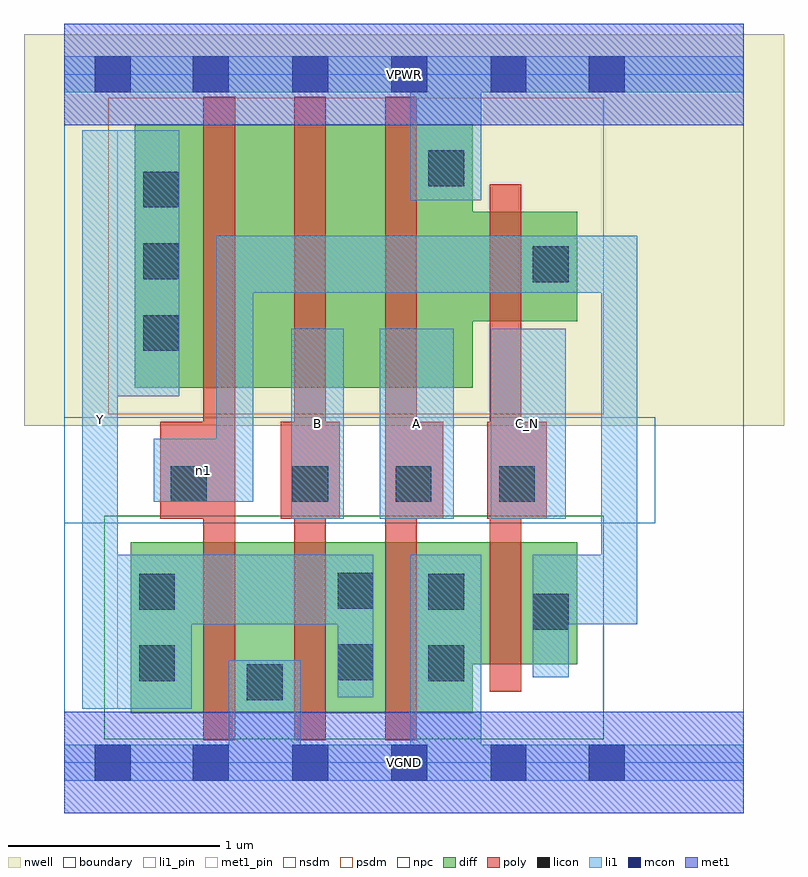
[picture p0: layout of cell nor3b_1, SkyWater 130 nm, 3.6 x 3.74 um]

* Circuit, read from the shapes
.subckt nor3b_1 A B C_N VGND VPWR Y n1
XM1 VGND n1 Y VSUBS sky130_fd_pr__nfet_01v8 w=0.81 l=0.15
XM2 Y B VGND VSUBS sky130_fd_pr__nfet_01v8 w=0.81 l=0.15
XM3 VGND A Y VSUBS sky130_fd_pr__nfet_01v8 w=0.81 l=0.15
XM4 n1 C_N VGND VSUBS sky130_fd_pr__nfet_01v8 w=0.58 l=0.15
XM5 n2 n1 Y n3 sky130_fd_pr__pfet_01v8 w=1.25 l=0.15
XM6 n4 B n2 n3 sky130_fd_pr__pfet_01v8 w=1.25 l=0.15
XM7 VPWR A n4 n3 sky130_fd_pr__pfet_01v8 w=1.25 l=0.15
XM8 n1 C_N VPWR n3 sky130_fd_pr__pfet_01v8 w=0.52 l=0.15
.ends

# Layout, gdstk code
import gdstk
lib = gdstk.Library(unit=1e-6, precision=1e-09)
def R(c, l, rs):  # rectangles x0, y0, x1, y1
    for r in rs: c.add(gdstk.rectangle(r[:2], r[2:], *l))
def A(c, l, x, y, w, h, nx, ny, dx, dy):  # array of equal rectangles
    R(c, l, [(x+i*dx, y+j*dy, x+i*dx+w, y+j*dy+h) for i in range(nx) for j in range(ny)])
nwell = (64, 20)
diff = (65, 20)
poly = (66, 20)
licon = (66, 44)
li1_pin = (67, 16)
li1 = (67, 20)
mcon = (67, 44)
met1_pin = (68, 16)
met1 = (68, 20)
nsdm = (93, 44)
psdm = (94, 20)
npc = (95, 20)
boundary = (235, 4)

nor3b_1 = lib.new_cell('nor3b_1')
R(nor3b_1, nwell, [(-0.19,1.595,3.41,3.45), (0,1.595,3.22,3.45)])
R(nor3b_1, diff, [(0.315,0.235,1.935,1.045), (0.315,0.465,2.43,1.045), (0.335,1.775,1.935,3.025), (0.335,2.09,2.43,2.61)])
A(nor3b_1, poly, 0.66, 0.105, 0.15, 3.05, 3, 1, 0.43, 0)
R(nor3b_1, poly, [(2.015,0.335,2.165,2.74), (0.455,1.155,0.81,1.615), (1.025,1.155,1.305,1.615), (1.52,1.155,1.795,1.615), (2.005,1.155,2.285,1.615)])
A(nor3b_1, licon, 1.08, 1.235, 0.17, 0.17, 3, 1, 0.49, 0)
A(nor3b_1, licon, 0.375, 1.95, 0.17, 0.17, 1, 3, 0, 0.34)
R(nor3b_1, licon, [(0.865,0.295,1.035,0.465), (0.355,0.385,0.525,0.555), (1.725,0.385,1.895,0.555), (1.295,0.39,1.465,0.56), (2.22,0.63,2.39,0.8), (0.355,0.725,0.525,0.895), (1.725,0.725,1.895,0.895), (1.295,0.73,1.465,0.9), (0.505,1.235,0.675,1.405), (2.22,2.275,2.39,2.445), (1.725,2.73,1.895,2.9)])
R(nor3b_1, li1_pin, [(0.085,0.255,0.255,2.995), (1.075,1.155,1.325,2.055), (1.495,1.155,1.845,2.055), (2.02,1.155,2.375,2.055)])
R(nor3b_1, li1, [(0,-0.085,3.22,0.085), (0.78,-0.085,1.12,0.485), (1.64,-0.085,1.975,0.985), (0.085,0.255,0.605,0.985), (0.085,0.255,0.255,2.995), (1.295,0.31,1.465,0.985), (2.22,0.405,2.39,0.985), (0.085,0.655,1.465,0.985), (2.22,0.655,2.715,0.985), (2.545,0.655,2.715,2.495), (1.075,1.155,1.325,2.055), (1.495,1.155,1.845,2.055), (2.02,1.155,2.375,2.055), (0.425,1.235,0.895,1.535), (0.72,1.235,0.895,2.495), (0.085,1.735,0.545,2.995), (0.72,2.225,2.715,2.495), (1.64,2.665,1.975,3.345), (0,3.175,3.22,3.345)])
A(nor3b_1, mcon, 0.61, -0.085, 0.17, 0.17, 4, 2, 0.47, 3.26)
R(nor3b_1, mcon, [(0.145,-0.085,0.315,0.085), (2.485,-0.085,2.655,0.085), (0.145,3.175,0.315,3.345), (2.485,3.175,2.655,3.345)])
R(nor3b_1, met1_pin, [(0,-0.24,3.22,0.24), (0,3.02,3.22,3.5)])
R(nor3b_1, met1, [(0,-0.24,3.22,0.24), (0,3.02,3.22,3.5)])
R(nor3b_1, nsdm, [(0.19,0.11,2.555,1.17)])
R(nor3b_1, psdm, [(0.21,1.65,2.555,3.15)])
R(nor3b_1, npc, [(0,1.135,2.8,1.635)])
R(nor3b_1, boundary, [(0,0,3.22,3.26)])
nor3b_1.add(gdstk.Label('A', (1.67,1.605), layer=67, texttype=5))
nor3b_1.add(gdstk.Label('B', (1.2,1.605), layer=67, texttype=5))
nor3b_1.add(gdstk.Label('C_N', (2.197,1.605), layer=67, texttype=5))
nor3b_1.add(gdstk.Label('Y', (0.17,1.625), layer=67, texttype=5))
nor3b_1.add(gdstk.Label('n1', (0.66,1.385), layer=67, texttype=5))
nor3b_1.add(gdstk.Label('VPWR', (1.61,3.26), layer=68, texttype=5))
nor3b_1.add(gdstk.Label('VGND', (1.61,0), layer=68, texttype=5))
nor3b_1.add(gdstk.Label('A', (1.67,1.605), layer=67, texttype=16))
nor3b_1.add(gdstk.Label('B', (1.2,1.605), layer=67, texttype=16))
nor3b_1.add(gdstk.Label('C_N', (2.197,1.605), layer=67, texttype=16))
nor3b_1.add(gdstk.Label('Y', (0.17,1.625), layer=67, texttype=16))
nor3b_1.add(gdstk.Label('VPWR', (1.61,3.26), layer=68, texttype=16))
nor3b_1.add(gdstk.Label('VGND', (1.61,0), layer=68, texttype=16))

lib.write_gds('nor3b_1.gds')
